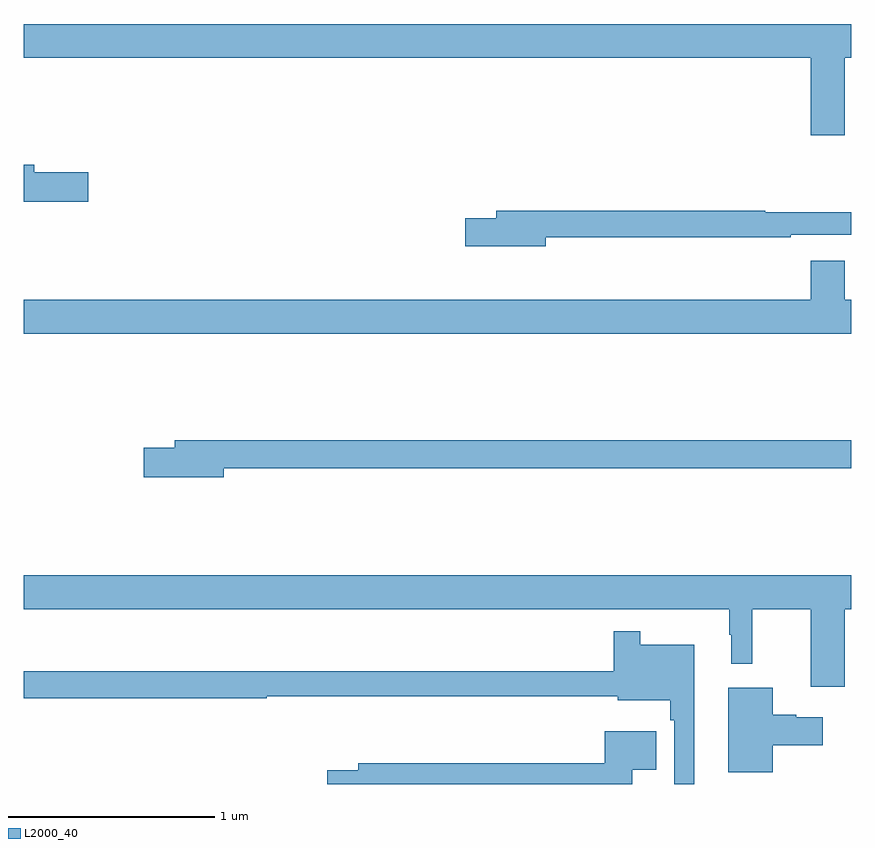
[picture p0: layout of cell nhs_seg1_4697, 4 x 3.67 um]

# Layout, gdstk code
import gdstk
lib = gdstk.Library(unit=1e-6, precision=1e-09)
def P(c, l, *ps):  # polygons
    for p in ps: c.add(gdstk.Polygon(p, *l))
L2000_40 = (2000, 40)

nhs_seg1_4697 = lib.new_cell('nhs_seg1_4697')
P(nhs_seg1_4697, L2000_40, [(368.968,575.708),(369,575.708),(369,575.872),(365,575.872),(365,575.708),(368.804,575.708),(368.804,575.334),(368.968,575.334)],
  [(365.311,575.156),(365.05,575.156),(365.05,575.192),(365,575.192),(365,575.014),(365.311,575.014)],
  [(367.522,574.842),(368.708,574.842),(368.708,574.854),(369,574.854),(369,574.963),(368.584,574.963),(368.584,574.97),(367.283,574.97),(367.283,574.934),(367.134,574.934),(367.134,574.799),(367.522,574.799)],
  [(369,574.54),(368.968,574.54),(368.968,574.729),(368.804,574.729),(368.804,574.54),(365,574.54),(365,574.376),(369,574.376)],
  [(365.968,573.724),(369,573.724),(369,573.86),(365.729,573.86),(365.729,573.824),(365.58,573.824),(365.58,573.682),(365.968,573.682)],
  [(368.968,573.044),(369,573.044),(369,573.208),(365,573.208),(365,573.044),(368.409,573.044),(368.409,572.921),(368.42,572.921),(368.42,572.781),(368.522,572.781),(368.522,573.044),(368.804,573.044),(368.804,572.67),(368.968,572.67)],
  [(368.242,572.872),(367.981,572.872),(367.981,572.938),(367.852,572.938),(367.852,572.743),(365,572.743),(365,572.614),(366.175,572.614),(366.175,572.622),(367.871,572.622),(367.871,572.603),(368.125,572.603),(368.125,572.507),(368.145,572.507),(368.145,572.199),(368.242,572.199)],
  [(368.62,572.387),(368.863,572.387),(368.863,572.521),(368.733,572.521),(368.733,572.534),(368.62,572.534),(368.62,572.665),(368.405,572.665),(368.405,572.255),(368.62,572.255)],
  [(367.942,572.267),(368.056,572.267),(368.056,572.455),(367.808,572.455),(367.808,572.299),(366.617,572.299),(366.617,572.265),(366.468,572.265),(366.468,572.199),(367.942,572.199)])

lib.write_gds('nhs_seg1_4697.gds')
